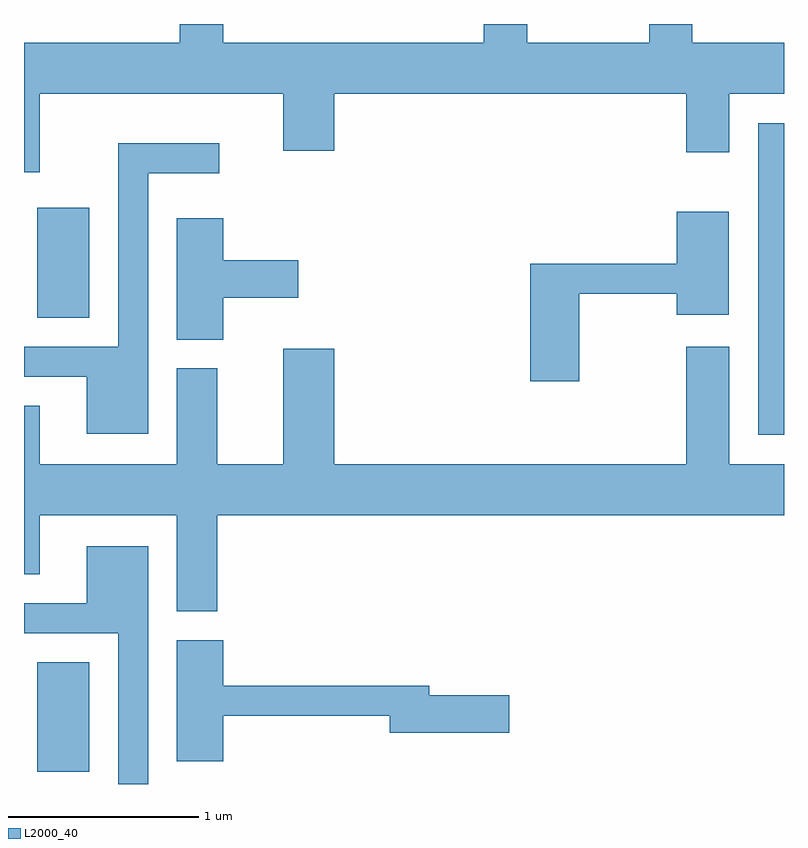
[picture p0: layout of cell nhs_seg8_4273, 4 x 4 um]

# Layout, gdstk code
import gdstk
lib = gdstk.Library(unit=1e-6, precision=1e-09)
def R(c, l, rs):  # rectangles x0, y0, x1, y1
    for r in rs: c.add(gdstk.rectangle(r[:2], r[2:], *l))
def P(c, l, *ps):  # polygons
    for p in ps: c.add(gdstk.Polygon(p, *l))
L2000_40 = (2000, 40)

nhs_seg8_4273 = lib.new_cell('nhs_seg8_4273')
R(nhs_seg8_4273, L2000_40, [(313.681,1828.406,313.954,1828.984), (317.476,1830.181,317.611,1831.819), (313.681,1830.796,313.954,1831.374)])
P(nhs_seg8_4273, L2000_40, [(313.694,1831.976),(314.976,1831.976),(314.976,1831.676),(315.244,1831.676),(315.244,1831.976),(317.096,1831.976),(317.096,1831.666),(317.324,1831.666),(317.324,1831.976),(317.611,1831.976),(317.611,1832.244),(317.129,1832.244),(317.129,1832.342),(316.901,1832.342),(316.901,1832.244),(316.259,1832.244),(316.259,1832.342),(316.031,1832.342),(316.031,1832.244),(314.659,1832.244),(314.659,1832.342),(314.431,1832.342),(314.431,1832.244),(313.611,1832.244),(313.611,1831.561),(313.694,1831.561)],
  [(314.264,1831.556),(314.638,1831.556),(314.638,1831.714),(314.106,1831.714),(314.106,1830.644),(313.611,1830.644),(313.611,1830.486),(313.941,1830.486),(313.941,1830.186),(314.264,1830.186)],
  [(316.534,1830.921),(317.046,1830.921),(317.046,1830.811),(317.319,1830.811),(317.319,1831.354),(317.046,1831.354),(317.046,1831.079),(316.276,1831.079),(316.276,1830.461),(316.534,1830.461)],
  [(314.659,1830.901),(315.054,1830.901),(315.054,1831.099),(314.659,1831.099),(314.659,1831.319),(314.416,1831.319),(314.416,1830.681),(314.659,1830.681)],
  [(314.629,1829.756),(317.611,1829.756),(317.611,1830.024),(317.324,1830.024),(317.324,1830.644),(317.096,1830.644),(317.096,1830.024),(315.244,1830.024),(315.244,1830.634),(314.976,1830.634),(314.976,1830.024),(314.629,1830.024),(314.629,1830.529),(314.416,1830.529),(314.416,1830.024),(313.694,1830.024),(313.694,1830.334),(313.611,1830.334),(313.611,1829.446),(313.694,1829.446),(313.694,1829.756),(314.416,1829.756),(314.416,1829.251),(314.629,1829.251)],
  [(314.264,1829.594),(313.941,1829.594),(313.941,1829.294),(313.611,1829.294),(313.611,1829.136),(314.106,1829.136),(314.106,1828.342),(314.264,1828.342)],
  [(314.659,1828.701),(315.536,1828.701),(315.536,1828.611),(316.164,1828.611),(316.164,1828.809),(315.744,1828.809),(315.744,1828.859),(314.659,1828.859),(314.659,1829.099),(314.416,1829.099),(314.416,1828.461),(314.659,1828.461)])

lib.write_gds('nhs_seg8_4273.gds')
